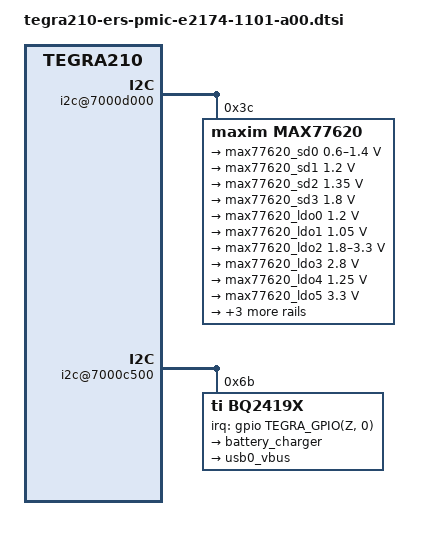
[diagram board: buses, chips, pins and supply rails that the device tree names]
#include <dt-bindings/mfd/max77620.h>
#include <dt-bindings/regulator/regulator.h>
#include <dt-bindings/gpio/tegra-gpio.h>

/ {
	i2c@7000d000 {
		nvidia,bit-banging-xfer-after-shutdown;

		max8973@1b {
			compatible = "maxim,max8973";
			reg = <0x1b>;
			status = "disabled";
			regulator-name = "vdd-cpu";
			regulator-min-microvolt = <600000>;
			regulator-max-microvolt = <1400000>;
			regulator-boot-on;
			regulator-always-on;
			maxim,externally-enable;
			maxim,sleep-on-dvs;
			maxim,dvs-default-state = <1>;
			maxim,external-enable-gpio = <&max77620 5 0>;
		};

		max8973@1c {
			compatible = "maxim,max8973";
			reg = <0x1c>;
			status = "disabled";
			regulator-name = "vdd-gpu";
			regulator-min-microvolt = <600000>;
			regulator-max-microvolt = <1400000>;
			regulator-boot-on;
			regulator-always-on;
			maxim,externally-enable;
			maxim,dvs-default-state = <1>;
			maxim,external-enable-gpio = <&max77620 6 0>;
		};

		max77620: max77620@3c {
			compatible = "maxim,max77620";
			reg = <0x3c>;
			interrupts = <0 86 IRQ_TYPE_NONE>;

			#interrupt-cells = <2>;
                        interrupt-controller;

			gpio-controller;
			#gpio-cells = <2>;

			maxim,enable-clock32k-out;

			maxim,system-pmic-power-off;
			maxim,system-pmic-power-reset;

			maxim,wdt-timeout = <16>;
			maxim,wdt-clear-time = <13>;

			maxim,hot-die-threshold-temp = <110000>;

			pinctrl-names = "default";
			pinctrl-0 = <&max77620_default>;

			max77620_default: pinmux@0 {
				pin_gpio0 {
					pins = "gpio0";
					function = "gpio";
				};

				pin_gpio4 {
					pins = "gpio4";
					function = "32k-out1";
				};

				pin_gpio1_2_5_6_7 {
					pins = "gpio1", "gpio2", "gpio5", "gpio6", "gpio7";
					function = "gpio";
					drive-push-pull = <1>;
				};

				pin_gpio3 {
					pins = "gpio3";
					function = "gpio";
					drive-open-drain = <1>;
				};

			};

			fps {
				#address-cells = <1>;
				#size-cells = <0>;
				fps@0 {
					reg = <0>;
					maxim,fps-enable-input = <FPS_EN_SRC_EN0>;
				};

				fps@1 {
					reg = <1>;
					maxim,fps-enable-input = <FPS_EN_SRC_EN1>;
					maxim,enable-sleep;
				};

				fps@2 {
					reg = <2>;
					maxim,fps-enable-input = <FPS_EN_SRC_EN0>;
				};
			};

			regulators {
				in-ldo0-1-supply = <&max77620_sd2>;
				in-ldo7-8-supply = <&max77620_sd2>;

				max77620_sd0: sd0 {
					regulator-name = "vdd-core";
					regulator-min-microvolt = <600000>;
					regulator-max-microvolt = <1400000>;
					regulator-boot-on;
					regulator-always-on;
					maxim,fps-source = <FPS_SRC_1>;
					regulator-init-mode = <REGULATOR_MODE_NORMAL>;
					consumers {
						c1 {
							regulator-consumer-supply = "vdd_core";
						};
					};
				};

				max77620_sd1: sd1 {
					regulator-name = "vddio-ddr";
					regulator-min-microvolt = <1200000>;
					regulator-max-microvolt = <1200000>;
					regulator-always-on;
					regulator-boot-on;
					regulator-init-mode = <REGULATOR_MODE_NORMAL>;
					maxim,fps-source = <FPS_SRC_0>;
				};

				max77620_sd2: sd2 {
					regulator-name = "vdd-pre-reg";
					regulator-min-microvolt = <1350000>;
					regulator-max-microvolt = <1350000>;
					maxim,fps-source = <FPS_SRC_1>;
				};

				max77620_sd3: sd3 {
					regulator-name = "vdd-1v8";
					regulator-min-microvolt = <1800000>;
					regulator-max-microvolt = <1800000>;
					regulator-always-on;
					regulator-boot-on;
					maxim,fps-source = <FPS_SRC_0>;
					regulator-init-mode = <REGULATOR_MODE_NORMAL>;
					consumers {
						c1 {
							regulator-consumer-supply = "avdd_hdmi_pll";
							regulator-consumer-device = "tegradc.1";
						};
						c2 {
							regulator-consumer-supply = "vddio_cam";
							regulator-consumer-device = "tegra_camera";
						};
						c3 {
							regulator-consumer-supply = "vddio_cam";
							regulator-consumer-device = "vi";
						};
						c4 {
							regulator-consumer-supply = "vddio_sdmmc";
							regulator-consumer-device = "sdhci-tegra.0";
						};
						c7 {
							regulator-consumer-supply = "avdd_pll_utmip";
							regulator-consumer-device = "tegra-ehci.0";
						};
						c8 {
							regulator-consumer-supply = "avdd_pll_utmip";
							regulator-consumer-device = "tegra-ehci.1";
						};
						c9 {
							regulator-consumer-supply = "avdd_pll_utmip";
							regulator-consumer-device = "tegra-ehci.2";
						};
						c10 {
							regulator-consumer-supply = "avdd_pll_utmip";
							regulator-consumer-device = "tegra-xhci";
						};
						c11 {
							regulator-consumer-supply = "vddio_audio";
						};
						c13 {
							regulator-consumer-supply = "vddio_uart";
						};
						c15 {
							regulator-consumer-supply = "vddio_sdmmc";
							regulator-consumer-device = "sdhci-tegra.3";
						};
						c17 {
							regulator-consumer-supply = "dvdd_lcd";
							regulator-consumer-device = "tegradc.0";
						};
						c18 {
							regulator-consumer-supply = "vdd";
							regulator-consumer-device = "0-004c";
						};
						c19 {
							regulator-consumer-supply = "vlogic";
							regulator-consumer-device = "0-0069";
						};
						c20 {
							regulator-consumer-supply = "vid";
							regulator-consumer-device = "0-000d";
						};
						c21 {
							regulator-consumer-supply = "vddio";
							regulator-consumer-device = "0-0077";
						};
					};
				};

				max77620_ldo0: ldo0 {
					regulator-name = "avdd-sys";
					regulator-min-microvolt = <1200000>;
					regulator-max-microvolt = <1200000>;
					regulator-always-on;
					regulator-boot-on;
					maxim,fps-source = <FPS_SRC_NONE>;
					consumers {
						c0 {
							regulator-consumer-supply = "vddio_hsic";
							regulator-consumer-device = "tegra-ehci.1";
						};
						c1 {
							regulator-consumer-supply = "vddio_hsic";
							regulator-consumer-device = "tegra-ehci.2";
						};
						c2 {
							regulator-consumer-supply = "vddio_hsic";
							regulator-consumer-device = "tegra-xhci";
						};
						c3 {
							regulator-consumer-supply = "avdd_hsic_com";
						};
						c4 {
							regulator-consumer-supply = "avdd_hsic_mdm";
						};
					};
				};

				max77620_ldo1: ldo1 {
					regulator-name = "vdd-pex";
					regulator-min-microvolt = <1050000>;
					regulator-max-microvolt = <1050000>;
					maxim,fps-source = <FPS_SRC_NONE>;
				};

				max77620_ldo2: ldo2 {
					regulator-name = "vddio-sdmmc3";
					regulator-min-microvolt = <1800000>;
					regulator-max-microvolt = <3300000>;
					maxim,fps-source = <FPS_SRC_NONE>;
					consumers {
						c0 {
							regulator-consumer-supply = "vddio_sdmmc";
							regulator-consumer-device = "sdhci-tegra.2";
						};
					};
				};

				max77620_ldo3: ldo3 {
					regulator-name = "vdd-cam-hv";
					regulator-min-microvolt = <2800000>;
					regulator-max-microvolt = <2800000>;
					maxim,fps-source = <FPS_SRC_NONE>;
				};

				max77620_ldo4: ldo4 {
					regulator-name = "vdd-rtc";
					regulator-min-microvolt = <1250000>;
					regulator-max-microvolt = <1250000>;
					regulator-always-on;
					regulator-boot-on;
					maxim,fps-source = <FPS_SRC_0>;
					consumers {
						c0 {
							regulator-consumer-supply = "vdd_rtc";
						};
					};
				};

				max77620_ldo5: ldo5 {
					regulator-name = "avdd-ts-hv";
					regulator-min-microvolt = <3300000>;
					regulator-max-microvolt = <3300000>;
					maxim,fps-source = <FPS_SRC_NONE>;
					consumers {
						c0 {
							regulator-consumer-supply = "avdd";
							regulator-consumer-device = "spi3.0";
						};
					};
				};

				max77620_ldo6: ldo6 {
					regulator-name = "vdd-ts";
					regulator-min-microvolt = <1800000>;
					regulator-max-microvolt = <1800000>;
					regulator-always-on;
					regulator-boot-on;
					maxim,fps-source = <FPS_SRC_NONE>;
					consumers {
						c0 {
							regulator-consumer-supply = "dvdd";
							regulator-consumer-device = "spi3.0";
						};
					};
				};

				max77620_ldo7: ldo7 {
					regulator-name = "vdd-gen-pll-edp";
					regulator-min-microvolt = <1050000>;
					regulator-max-microvolt = <1050000>;
					regulator-always-on;
					regulator-boot-on;
					maxim,fps-source = <FPS_SRC_1>;
				};

				max77620_ldo8: ldo8 {
					regulator-name = "vdd-hdmi-dp";
					regulator-min-microvolt = <1050000>;
					regulator-max-microvolt = <1050000>;
					maxim,fps-source = <FPS_SRC_NONE>;
					consumers {
						c0 {
							regulator-consumer-supply = "avdd_hdmi";
							regulator-consumer-device = "tegradc.1";
						};
					};
				};
			};
		};
	};
	/* Populate fuse supply */
	efuse@7000f800 {
		vpp_fuse-supply = <&max77620_sd3>;
	};

	i2c@7000c500 {
		bq2419x: battery-charger@6b {
			compatible = "ti,bq2419x";
			reg = <0x6b>;

			interrupt-parent = <&gpio>;
			interrupts = <TEGRA_GPIO(Z, 0) 0x0>;
			#extcon-cells = <1>;

			battery_charger: charger {
				status = "disabled";
				regulator-name = "batt_regulator";
				regulator-max-microamp = <3000000>;
				ti,watchdog-timeout = <40>;
				ti,rtc-alarm-time = <3600>;
				ti,auto-recharge-time = <1800>;
				ti,disbale-suspend-during-charging;
				ti,charge-voltage-limit-millivolt = <4200>;
				ti,charge-term-current-limit-milliamp = <260>;
				ti,temp-range = <10 15 60>;
				ti,charge-current-limit = <1024 2048 5200>;
				ti,thermal-zone = "battery";
				ti,temp-polling-time-sec = <5>;
				ti,ir-comp-voltage-millivolt = <1>;
				ti,ir-comp-resister-ohm = <70>;
				consumers {
					c1 {
						regulator-consumer-supply = "usb_bat_chg";
						regulator-consumer-device = "tegra-udc.0";
					};
				};
			};

			usb0_vbus: vbus {
				regulator-name = "vbus_regulator";
				ti,otg-iusb-gpio = <&gpio TEGRA_GPIO(CC, 5) 0>;
				consumers {
					c1 {
						regulator-consumer-supply = "usb_vbus";
						regulator-consumer-device = "tegra-ehci.0";
					};
				};
			};
		};

		battery-gauge@55 {
			status = "disabled";
			compatible = "ti,bq27441";
			reg = <0x55>;
			ti,design-capacity = <7800>;
			ti,design-energy = <28314>;
			ti,taper-rate = <167>;
			ti,terminate-voltage = <3150>;
			ti,v-at-chg-term = <4200>;
			ti,tz-name = "battery-temp";
		};
	};


	power-detect {
		pwrdet-sdmmc1-supply = <&max77620_sd3>;
		pwrdet-sdmmc4-supply = <&max77620_sd3>;
		pwrdet-audio-supply = <&max77620_sd3>;
		pwrdet-uart-supply = <&max77620_sd3>;
		pwrdet-sdmmc3-supply = <&max77620_ldo2>;
	};
};
